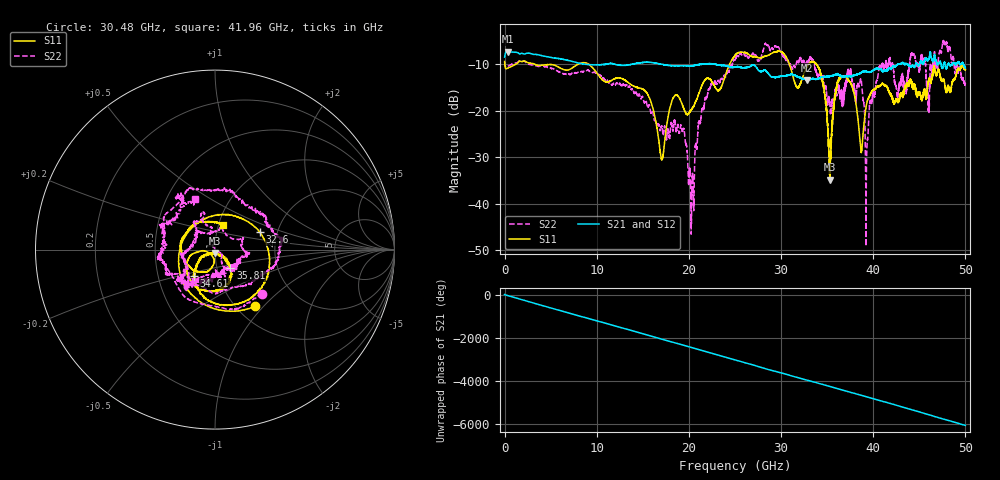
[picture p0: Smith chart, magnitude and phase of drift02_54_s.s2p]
!Created with skrf (http://scikit-rf.org).
# Hz S RI R 50.0
!freq ReS11 ImS11 ReS21 ImS21 ReS12 ImS12 ReS22 ImS22
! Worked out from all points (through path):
!   10001 points, 300 kHz to 50 GHz, reference 50 ohm
!   highest |S21| = -7.31 dB at 320.3 MHz (marker M1); lowest = -13.5 dB at 32.8 GHz (marker M2)
!   group delay of S21, straight-line fit = 335 ps
!   lowest |S11| = -34.8 dB at 35.31 GHz (marker M3), VSWR 1.04, Z = 50.2 - j1.81 ohm
!   |S11| at or under -10 dB: 3.225 GHz to 8.005 GHz (4.78 GHz wide, 85.1 % of centre); 9.103 GHz to 24.41 GHz (15.31 GHz wide, 91.4 % of centre); 33.83 GHz to end of sweep (the widest 3 of 8)
!   |S22| runs from -49.1 to -4.9 dB; largest |S21 - S12| = 0.015
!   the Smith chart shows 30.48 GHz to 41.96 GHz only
!   S11 on the Smith chart (normalised r, x): 30.48 GHz: 1.22, -0.90; 32.6 GHz: 1.63, +0.34; 34.61 GHz: 0.76, -0.23; 35.81 GHz: 1.16, -0.24; 41.96 GHz: 1.05, +0.30
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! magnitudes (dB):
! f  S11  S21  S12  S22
! 300 kHz  -9.4  -8.5  -8.4  -9.5
! 320.3 MHz  -10.9  -7.3  -7.3  -10.6
! 8.335 GHz  -9.7  -9.9  -9.9  -11.6
! 16.67 GHz  -25.6  -9.9  -9.9  -22.9
! 19.31 GHz  -18.8  -10.4  -10.3  -24.5
! 20.35 GHz  -19.5  -10.3  -10.3  -35.2
! 21.94 GHz  -13.1  -10.0  -10.0  -17.3
! 25 GHz  -8.1  -10.6  -10.6  -9.0
! 30.48 GHz  -8.3  -12.5  -12.4  -8.9
! 32.6 GHz  -11.4  -13.2  -13.3  -10.3
! 32.8 GHz  -10.7  -13.5  -13.5  -9.6
! 33.34 GHz  -9.4  -13.1  -13.2  -9.0
! 34.61 GHz  -14.7  -12.7  -12.6  -13.7
! 35.31 GHz  -34.8  -12.6  -12.6  -19.2
! 35.81 GHz  -17.6  -12.3  -12.3  -16.7
! 37.34 GHz  -13.5  -12.5  -12.5  -11.8
! 38.56 GHz  -26.2  -12.0  -11.9  -13.9
! 39.31 GHz  -18.3  -11.6  -11.6  -28.1
! 41.67 GHz  -15.8  -10.9  -11.1  -9.8
! 41.96 GHz  -16.7  -10.9  -10.9  -10.4
! 47.77 GHz  -14.4  -9.8  -9.8  -5.5
! 50 GHz  -11.2  -10.8  -10.8  -14.2
